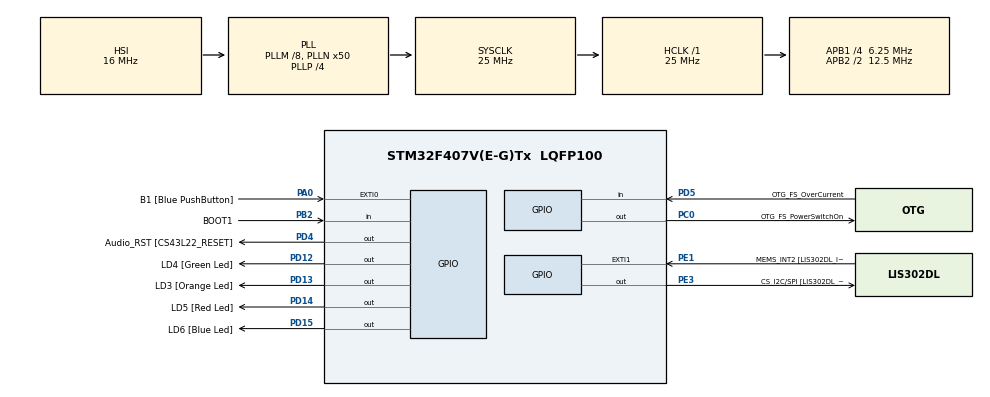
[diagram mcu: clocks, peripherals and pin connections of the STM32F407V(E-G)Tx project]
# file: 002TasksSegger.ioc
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Mcu.Family=STM32F4
Mcu.Name=STM32F407V(E-G)Tx
Mcu.Package=LQFP100
NVIC.PriorityGroup=NVIC_PRIORITYGROUP_4
NVIC.TIM6_DAC_IRQn=true\:0\:0\:false\:false\:true\:false\:true
NVIC.TimeBase=TIM6_DAC_IRQn
NVIC.TimeBaseIP=TIM6
PA0-WKUP.GPIO_Label=B1 [Blue PushButton]
PA0-WKUP.Signal=GPXTI0
PA10.GPIO_Label=OTG_FS_ID
PA10.GPIO_Mode=GPIO_MODE_AF_PP
PA10.GPIO_PuPd=GPIO_NOPULL
PA10.GPIO_Speed=GPIO_SPEED_FREQ_LOW
PA10.Signal=USB_OTG_FS_ID
PA11.GPIO_Label=OTG_FS_DM
PA11.GPIO_Mode=GPIO_MODE_AF_PP
PA11.GPIO_PuPd=GPIO_NOPULL
PA11.GPIO_Speed=GPIO_SPEED_FREQ_LOW
PA11.Signal=USB_OTG_FS_DM
PA12.GPIO_Label=OTG_FS_DP
PA12.GPIO_Mode=GPIO_MODE_AF_PP
PA12.GPIO_PuPd=GPIO_NOPULL
PA12.GPIO_Speed=GPIO_SPEED_FREQ_LOW
PA12.Signal=USB_OTG_FS_DP
PA13.GPIO_Label=SWDIO
PA13.Signal=SYS_JTMS-SWDIO
PA14.GPIO_Label=SWCLK
PA14.Signal=SYS_JTCK-SWCLK
PA4.GPIO_Label=I2S3_WS [CS43L22_LRCK]
PA4.GPIO_Mode=GPIO_MODE_AF_PP
PA4.GPIO_PuPd=GPIO_NOPULL
PA4.GPIO_Speed=GPIO_SPEED_FREQ_LOW
PA4.Signal=I2S3_WS
PA5.GPIO_Label=SPI1_SCK [LIS302DL_SCL/SPC]
PA5.GPIO_Mode=GPIO_MODE_AF_PP
PA5.GPIO_PuPd=GPIO_NOPULL
PA5.GPIO_Speed=GPIO_SPEED_FREQ_LOW
PA5.Signal=SPI1_SCK
PA6.GPIO_Label=SPI1_MISO [LIS302DL_SDO]
PA6.GPIO_Mode=GPIO_MODE_AF_PP
PA6.GPIO_PuPd=GPIO_NOPULL
PA6.GPIO_Speed=GPIO_SPEED_FREQ_LOW
PA6.Signal=SPI1_MISO
PA7.GPIO_Label=SPI1_MOSI [LIS302DL_SDA/SDI/SDO]
PA7.GPIO_Mode=GPIO_MODE_AF_PP
PA7.GPIO_PuPd=GPIO_NOPULL
PA7.GPIO_Speed=GPIO_SPEED_FREQ_LOW
PA7.Signal=SPI1_MOSI
PA9.GPIO_Label=VBUS_FS
PA9.GPIO_Mode=GPIO_MODE_INPUT
PA9.GPIO_PuPd=GPIO_NOPULL
PA9.Signal=USB_OTG_FS_VBUS
PB10.GPIO_Label=CLK_IN [MP45DT02_CLK]
PB10.GPIO_Mode=GPIO_MODE_AF_PP
PB10.GPIO_PuPd=GPIO_NOPULL
PB10.GPIO_Speed=GPIO_SPEED_FREQ_LOW
PB10.Signal=I2S2_CK
PB2.GPIO_Label=BOOT1
PB2.GPIO_Mode=GPIO_MODE_INPUT
PB2.GPIO_PuPd=GPIO_NOPULL
PB2.Signal=GPIO_Input
PB3.GPIO_Label=SWO
PB3.Signal=SYS_JTDO-SWO
PB6.GPIO_Label=Audio_SCL [CS43L22_SCL]
PB6.GPIO_Mode=GPIO_MODE_AF_OD
PB6.GPIO_PuPd=GPIO_NOPULL
PB6.GPIO_Speed=GPIO_SPEED_FREQ_LOW
PB6.Signal=I2C1_SCL
PB9.GPIO_Label=Audio_SDA [CS43L22_SDA]
PB9.GPIO_Mode=GPIO_MODE_AF_OD
PB9.GPIO_PuPd=GPIO_NOPULL
PB9.GPIO_Speed=GPIO_SPEED_FREQ_LOW
PB9.Signal=I2C1_SDA
PC0.GPIO_Label=OTG_FS_PowerSwitchOn
PC0.GPIO_PuPd=GPIO_NOPULL
PC0.GPIO_Speed=GPIO_SPEED_FREQ_LOW
PC0.PinState=GPIO_PIN_SET
PC0.Signal=GPIO_Output
PC10.GPIO_Label=I2S3_SCK [CS43L22_SCLK]
PC10.GPIO_Mode=GPIO_MODE_AF_PP
PC10.GPIO_PuPd=GPIO_NOPULL
PC10.GPIO_Speed=GPIO_SPEED_FREQ_LOW
PC10.Signal=I2S3_CK
PC12.GPIO_Label=I2S3_SD [CS43L22_SDIN]
PC12.GPIO_Mode=GPIO_MODE_AF_PP
PC12.GPIO_PuPd=GPIO_NOPULL
PC12.GPIO_Speed=GPIO_SPEED_FREQ_LOW
PC12.Signal=I2S3_SD
PC14-OSC32_IN.GPIO_Label=PC14-OSC32_IN
PC14-OSC32_IN.Signal=RCC_OSC32_IN
PC15-OSC32_OUT.GPIO_Label=PC15-OSC32_OUT
PC15-OSC32_OUT.Signal=RCC_OSC32_OUT
PC3.GPIO_Label=PDM_OUT [MP45DT02_DOUT]
PC3.GPIO_Mode=GPIO_MODE_AF_PP
PC3.GPIO_PuPd=GPIO_NOPULL
PC3.GPIO_Speed=GPIO_SPEED_FREQ_LOW
PC3.Signal=I2S2_SD
PC7.GPIO_Label=I2S3_MCK [CS43L22_MCLK]
PC7.GPIO_Mode=GPIO_MODE_AF_PP
PC7.GPIO_PuPd=GPIO_NOPULL
PC7.GPIO_Speed=GPIO_SPEED_FREQ_LOW
PC7.Signal=I2S3_MCK
PD12.GPIO_Label=LD4 [Green Led]
PD12.GPIO_PuPd=GPIO_NOPULL
PD12.GPIO_Speed=GPIO_SPEED_FREQ_LOW
PD12.Signal=GPIO_Output
PD13.GPIO_Label=LD3 [Orange Led]
PD13.GPIO_PuPd=GPIO_NOPULL
PD13.GPIO_Speed=GPIO_SPEED_FREQ_LOW
PD13.Signal=GPIO_Output
PD14.GPIO_Label=LD5 [Red Led]
PD14.GPIO_PuPd=GPIO_NOPULL
PD14.GPIO_Speed=GPIO_SPEED_FREQ_LOW
PD14.Signal=GPIO_Output
PD15.GPIO_Label=LD6 [Blue Led]
PD15.GPIO_PuPd=GPIO_NOPULL
PD15.GPIO_Speed=GPIO_SPEED_FREQ_LOW
PD15.Signal=GPIO_Output
PD4.GPIO_Label=Audio_RST [CS43L22_RESET]
PD4.GPIO_PuPd=GPIO_NOPULL
PD4.GPIO_Speed=GPIO_SPEED_FREQ_LOW
PD4.Signal=GPIO_Output
PD5.GPIO_Label=OTG_FS_OverCurrent
PD5.GPIO_Mode=GPIO_MODE_INPUT
PD5.GPIO_PuPd=GPIO_NOPULL
PD5.Signal=GPIO_Input
PE1.GPIO_Label=MEMS_INT2 [LIS302DL_INT2]
PE1.GPIO_ModeDefaultEXTI=GPIO_MODE_EVT_RISING
PE1.GPIO_PuPd=GPIO_NOPULL
PE1.Signal=GPXTI1
PE3.GPIO_Label=CS_I2C/SPI [LIS302DL_CS_I2C/SPI]
PE3.GPIO_PuPd=GPIO_NOPULL
PE3.GPIO_Speed=GPIO_SPEED_FREQ_LOW
PE3.Signal=GPIO_Output
PH0-OSC_IN.GPIO_Label=PH0-OSC_IN
PH0-OSC_IN.Signal=RCC_OSC_IN
PH1-OSC_OUT.GPIO_Label=PH1-OSC_OUT
PH1-OSC_OUT.Signal=RCC_OSC_OUT
ProjectManager.HeapSize=0x200
ProjectManager.StackSize=0x400
ProjectManager.TargetToolchain=STM32CubeIDE
RCC.48MHZClocksFreq_Value=14285714.285714285
RCC.AHBFreq_Value=25000000
RCC.APB1CLKDivider=RCC_HCLK_DIV4
RCC.APB1Freq_Value=6250000
RCC.APB1TimFreq_Value=12500000
RCC.APB2CLKDivider=RCC_HCLK_DIV2
RCC.APB2Freq_Value=12500000
RCC.APB2TimFreq_Value=25000000
RCC.CortexFreq_Value=25000000
RCC.HCLKFreq_Value=25000000
RCC.HSE_VALUE=8000000
RCC.HSI_VALUE=16000000
RCC.LSE_VALUE=32768
RCC.PLLM=8
RCC.PLLN=50
RCC.PLLP=RCC_PLLP_DIV4
RCC.PLLQ=7
RCC.SYSCLKFreq_VALUE=25000000
RCC.SYSCLKSource=RCC_SYSCLKSOURCE_PLLCLK
RCC.VCOOutputFreq_Value=100000000
VP_SYS_VS_tim6.Mode=TIM6
board=STM32F407G-DISC1

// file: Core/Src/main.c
/* USER CODE BEGIN Header */
/**
  ******************************************************************************
  * @file           : main.c
  * @brief          : Main program body
  ******************************************************************************
  * @attention
  *
  * Copyright (c) 2022 STMicroelectronics.
  * All rights reserved.
  *
  * This software is licensed under terms that can be found in the LICENSE file
  * in the root directory of this software component.
  * If no LICENSE file comes with this software, it is provided AS-IS.
  *
  ******************************************************************************
  */
/* USER CODE END Header */
#include "main.h"

/* USER CODE BEGIN Includes */
#include<stdio.h>
#include "FreeRTOS.h"
#include "task.h"
/* USER CODE END Includes */

/* USER CODE BEGIN PV */
#define DWT_CTRL (*(volatile uint32_t*)	0xE0001000)
/* USER CODE END PV */

void SystemClock_Config(void);
static void MX_GPIO_Init(void);
/* USER CODE BEGIN PFP */
static void task1_handler(void* parameters);
static void task2_handler(void* parameters);

/* USER CODE END PFP */

int main(void)
{
  /* USER CODE BEGIN 1 */
TaskHandle_t task1_handle;
TaskHandle_t task2_handle;
BaseType_t status;

  /* USER CODE END 1 */

  /* MCU Configuration--------------------------------------------------------*/

  /* Reset of all peripherals, Initializes the Flash interface and the Systick. */
  HAL_Init();

  /* Configure the system clock */
  SystemClock_Config();

  /* Initialize all configured peripherals */

  MX_GPIO_Init();
  /* USER CODE BEGIN 2 */

  //eneble cycnt counter
  DWT_CTRL |= (1<<0);

  SEGGER_SYSVIEW_Conf();

  SEGGER_SYSVIEW_Start();

  status = xTaskCreate(task1_handler, "task-1", 200,"Hellow World from task-1", 2, &task1_handle);

  configASSERT(status==pdPASS);

  status = xTaskCreate(task2_handler, "task-2", 200,"Hellow World from task-2", 2, &task2_handle);

  configASSERT(status==pdPASS);
//start scheduler

  vTaskStartScheduler();
  /* USER CODE END 2 */

  /* Infinite loop */
  while (1)
  {

  }
}

void SystemClock_Config(void)
{
  RCC_OscInitTypeDef RCC_OscInitStruct = {0};
  RCC_ClkInitTypeDef RCC_ClkInitStruct = {0};

  /** Configure the main internal regulator output voltage
  */
  __HAL_RCC_PWR_CLK_ENABLE();
  __HAL_PWR_VOLTAGESCALING_CONFIG(PWR_REGULATOR_VOLTAGE_SCALE1);
  /** Initializes the RCC Oscillators according to the specified parameters
  * in the RCC_OscInitTypeDef structure.
  */
  RCC_OscInitStruct.OscillatorType = RCC_OSCILLATORTYPE_HSI;
  RCC_OscInitStruct.HSIState = RCC_HSI_ON;
  RCC_OscInitStruct.HSICalibrationValue = RCC_HSICALIBRATION_DEFAULT;
  RCC_OscInitStruct.PLL.PLLState = RCC_PLL_ON;
  RCC_OscInitStruct.PLL.PLLSource = RCC_PLLSOURCE_HSI;
  RCC_OscInitStruct.PLL.PLLM = 8;
  RCC_OscInitStruct.PLL.PLLN = 50;
  RCC_OscInitStruct.PLL.PLLP = RCC_PLLP_DIV4;
  RCC_OscInitStruct.PLL.PLLQ = 7;
  if (HAL_RCC_OscConfig(&RCC_OscInitStruct) != HAL_OK)
  {
    Error_Handler();
  }
  /** Initializes the CPU, AHB and APB buses clocks
  */
  RCC_ClkInitStruct.ClockType = RCC_CLOCKTYPE_HCLK|RCC_CLOCKTYPE_SYSCLK
                              |RCC_CLOCKTYPE_PCLK1|RCC_CLOCKTYPE_PCLK2;
  RCC_ClkInitStruct.SYSCLKSource = RCC_SYSCLKSOURCE_PLLCLK;
  RCC_ClkInitStruct.AHBCLKDivider = RCC_SYSCLK_DIV1;
  RCC_ClkInitStruct.APB1CLKDivider = RCC_HCLK_DIV4;
  RCC_ClkInitStruct.APB2CLKDivider = RCC_HCLK_DIV2;

  if (HAL_RCC_ClockConfig(&RCC_ClkInitStruct, FLASH_LATENCY_0) != HAL_OK)
  {
    Error_Handler();
  }
}

static void MX_GPIO_Init(void)
{
  GPIO_InitTypeDef GPIO_InitStruct = {0};

  /* GPIO Ports Clock Enable */
  __HAL_RCC_GPIOE_CLK_ENABLE();
  __HAL_RCC_GPIOC_CLK_ENABLE();
  __HAL_RCC_GPIOH_CLK_ENABLE();
  __HAL_RCC_GPIOA_CLK_ENABLE();
  __HAL_RCC_GPIOB_CLK_ENABLE();
  __HAL_RCC_GPIOD_CLK_ENABLE();

  /*Configure GPIO pin Output Level */
  HAL_GPIO_WritePin(CS_I2C_SPI_GPIO_Port, CS_I2C_SPI_Pin, GPIO_PIN_RESET);

  /*Configure GPIO pin Output Level */
  HAL_GPIO_WritePin(OTG_FS_PowerSwitchOn_GPIO_Port, OTG_FS_PowerSwitchOn_Pin, GPIO_PIN_SET);

  /*Configure GPIO pin Output Level */
  HAL_GPIO_WritePin(GPIOD, LD4_Pin|LD3_Pin|LD5_Pin|LD6_Pin
                          |Audio_RST_Pin, GPIO_PIN_RESET);

  /*Configure GPIO pin : CS_I2C_SPI_Pin */
  GPIO_InitStruct.Pin = CS_I2C_SPI_Pin;
  GPIO_InitStruct.Mode = GPIO_MODE_OUTPUT_PP;
  GPIO_InitStruct.Pull = GPIO_NOPULL;
  GPIO_InitStruct.Speed = GPIO_SPEED_FREQ_LOW;
  HAL_GPIO_Init(CS_I2C_SPI_GPIO_Port, &GPIO_InitStruct);

  /*Configure GPIO pin : OTG_FS_PowerSwitchOn_Pin */
  GPIO_InitStruct.Pin = OTG_FS_PowerSwitchOn_Pin;
  GPIO_InitStruct.Mode = GPIO_MODE_OUTPUT_PP;
  GPIO_InitStruct.Pull = GPIO_NOPULL;
  GPIO_InitStruct.Speed = GPIO_SPEED_FREQ_LOW;
  HAL_GPIO_Init(OTG_FS_PowerSwitchOn_GPIO_Port, &GPIO_InitStruct);

  /*Configure GPIO pin : PDM_OUT_Pin */
  GPIO_InitStruct.Pin = PDM_OUT_Pin;
  GPIO_InitStruct.Mode = GPIO_MODE_AF_PP;
  GPIO_InitStruct.Pull = GPIO_NOPULL;
  GPIO_InitStruct.Speed = GPIO_SPEED_FREQ_LOW;
  GPIO_InitStruct.Alternate = GPIO_AF5_SPI2;
  HAL_GPIO_Init(PDM_OUT_GPIO_Port, &GPIO_InitStruct);

  /*Configure GPIO pin : B1_Pin */
  GPIO_InitStruct.Pin = B1_Pin;
  GPIO_InitStruct.Mode = GPIO_MODE_IT_RISING;
  GPIO_InitStruct.Pull = GPIO_NOPULL;
  HAL_GPIO_Init(B1_GPIO_Port, &GPIO_InitStruct);

  /*Configure GPIO pin : I2S3_WS_Pin */
  GPIO_InitStruct.Pin = I2S3_WS_Pin;
  GPIO_InitStruct.Mode = GPIO_MODE_AF_PP;
  GPIO_InitStruct.Pull = GPIO_NOPULL;
  GPIO_InitStruct.Speed = GPIO_SPEED_FREQ_LOW;
  GPIO_InitStruct.Alternate = GPIO_AF6_SPI3;
  HAL_GPIO_Init(I2S3_WS_GPIO_Port, &GPIO_InitStruct);

  /*Configure GPIO pins : SPI1_SCK_Pin SPI1_MISO_Pin SPI1_MOSI_Pin */
  GPIO_InitStruct.Pin = SPI1_SCK_Pin|SPI1_MISO_Pin|SPI1_MOSI_Pin;
  GPIO_InitStruct.Mode = GPIO_MODE_AF_PP;
  GPIO_InitStruct.Pull = GPIO_NOPULL;
  GPIO_InitStruct.Speed = GPIO_SPEED_FREQ_LOW;
  GPIO_InitStruct.Alternate = GPIO_AF5_SPI1;
  HAL_GPIO_Init(GPIOA, &GPIO_InitStruct);

  /*Configure GPIO pin : BOOT1_Pin */
  GPIO_InitStruct.Pin = BOOT1_Pin;
  GPIO_InitStruct.Mode = GPIO_MODE_INPUT;
  GPIO_InitStruct.Pull = GPIO_NOPULL;
  HAL_GPIO_Init(BOOT1_GPIO_Port, &GPIO_InitStruct);

  /*Configure GPIO pin : CLK_IN_Pin */
  GPIO_InitStruct.Pin = CLK_IN_Pin;
  GPIO_InitStruct.Mode = GPIO_MODE_AF_PP;
  GPIO_InitStruct.Pull = GPIO_NOPULL;
  GPIO_InitStruct.Speed = GPIO_SPEED_FREQ_LOW;
  GPIO_InitStruct.Alternate = GPIO_AF5_SPI2;
  HAL_GPIO_Init(CLK_IN_GPIO_Port, &GPIO_InitStruct);

  /*Configure GPIO pins : LD4_Pin LD3_Pin LD5_Pin LD6_Pin
                           Audio_RST_Pin */
  GPIO_InitStruct.Pin = LD4_Pin|LD3_Pin|LD5_Pin|LD6_Pin
                          |Audio_RST_Pin;
  GPIO_InitStruct.Mode = GPIO_MODE_OUTPUT_PP;
  GPIO_InitStruct.Pull = GPIO_NOPULL;
  GPIO_InitStruct.Speed = GPIO_SPEED_FREQ_LOW;
  HAL_GPIO_Init(GPIOD, &GPIO_InitStruct);

  /*Configure GPIO pins : I2S3_MCK_Pin I2S3_SCK_Pin I2S3_SD_Pin */
  GPIO_InitStruct.Pin = I2S3_MCK_Pin|I2S3_SCK_Pin|I2S3_SD_Pin;
  GPIO_InitStruct.Mode = GPIO_MODE_AF_PP;
  GPIO_InitStruct.Pull = GPIO_NOPULL;
  GPIO_InitStruct.Speed = GPIO_SPEED_FREQ_LOW;
  GPIO_InitStruct.Alternate = GPIO_AF6_SPI3;
  HAL_GPIO_Init(GPIOC, &GPIO_InitStruct);

  /*Configure GPIO pin : VBUS_FS_Pin */
  GPIO_InitStruct.Pin = VBUS_FS_Pin;
  GPIO_InitStruct.Mode = GPIO_MODE_INPUT;
  GPIO_InitStruct.Pull = GPIO_NOPULL;
  HAL_GPIO_Init(VBUS_FS_GPIO_Port, &GPIO_InitStruct);

  /*Configure GPIO pins : OTG_FS_ID_Pin OTG_FS_DM_Pin OTG_FS_DP_Pin */
  GPIO_InitStruct.Pin = OTG_FS_ID_Pin|OTG_FS_DM_Pin|OTG_FS_DP_Pin;
  GPIO_InitStruct.Mode = GPIO_MODE_AF_PP;
  GPIO_InitStruct.Pull = GPIO_NOPULL;
  GPIO_InitStruct.Speed = GPIO_SPEED_FREQ_LOW;
  GPIO_InitStruct.Alternate = GPIO_AF10_OTG_FS;
  HAL_GPIO_Init(GPIOA, &GPIO_InitStruct);

  /*Configure GPIO pin : OTG_FS_OverCurrent_Pin */
  GPIO_InitStruct.Pin = OTG_FS_OverCurrent_Pin;
  GPIO_InitStruct.Mode = GPIO_MODE_INPUT;
  GPIO_InitStruct.Pull = GPIO_NOPULL;
  HAL_GPIO_Init(OTG_FS_OverCurrent_GPIO_Port, &GPIO_InitStruct);

  /*Configure GPIO pins : Audio_SCL_Pin Audio_SDA_Pin */
  GPIO_InitStruct.Pin = Audio_SCL_Pin|Audio_SDA_Pin;
  GPIO_InitStruct.Mode = GPIO_MODE_AF_OD;
  GPIO_InitStruct.Pull = GPIO_NOPULL;
  GPIO_InitStruct.Speed = GPIO_SPEED_FREQ_LOW;
  GPIO_InitStruct.Alternate = GPIO_AF4_I2C1;
  HAL_GPIO_Init(GPIOB, &GPIO_InitStruct);

  /*Configure GPIO pin : MEMS_INT2_Pin */
  GPIO_InitStruct.Pin = MEMS_INT2_Pin;
  GPIO_InitStruct.Mode = GPIO_MODE_EVT_RISING;
  GPIO_InitStruct.Pull = GPIO_NOPULL;
  HAL_GPIO_Init(MEMS_INT2_GPIO_Port, &GPIO_InitStruct);

}

/* USER CODE BEGIN 4 */
static void task1_handler(void* parameters)
{
	char msg[100];
	while(1)
	{
		//printf("%s \n", (char*) parameters);

		snprintf(msg,100,"%s \n", (char*) parameters);

		SEGGER_SYSVIEW_PrintfTarget(msg);

		taskYIELD();
	}
}

static void task2_handler(void* parameters)
{
	char msg[100];
	while(1)
	{
		//printf("%s \n", (char*) parameters);

		snprintf(msg,100,"%s \n", (char*) parameters);

		SEGGER_SYSVIEW_PrintfTarget(msg);

		taskYIELD();
	}
}
/* USER CODE END 4 */

void HAL_TIM_PeriodElapsedCallback(TIM_HandleTypeDef *htim)
{
  if (htim->Instance == TIM6) {
    HAL_IncTick();
  }
}

void Error_Handler(void)
{
  __disable_irq();
  while (1)
  {
  }
}
